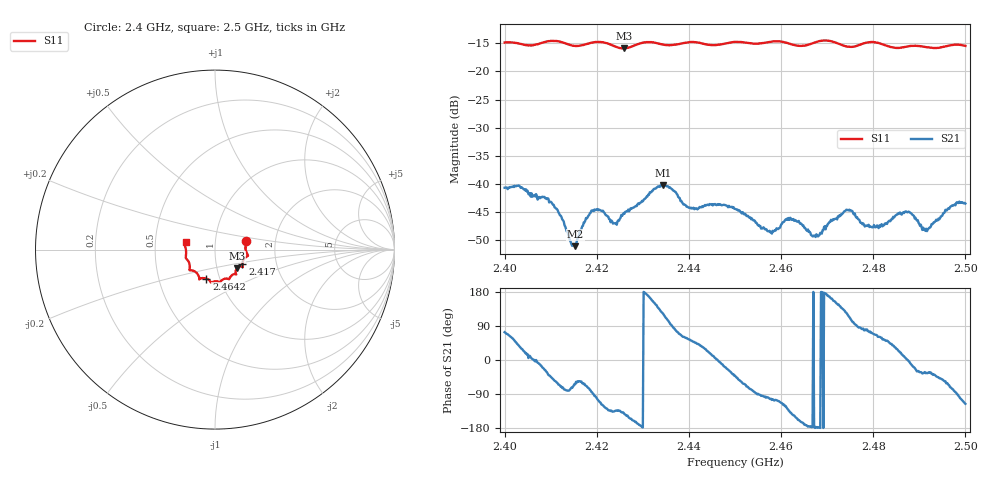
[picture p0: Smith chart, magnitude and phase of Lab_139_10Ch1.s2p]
# Hz S RI R 50
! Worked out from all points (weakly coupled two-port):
!   601 points, 2.4 GHz to 2.5 GHz, reference 50 ohm
!   highest |S21| = -40.14 dB at 2.4343 GHz (marker M1); lowest = -51.0 dB at 2.4153 GHz (marker M2)
!   lowest |S11| = -15.9 dB at 2.4258 GHz (marker M3), VSWR 1.38, Z = 62.3 - j13.3 ohm
!   |S11| at or under -10 dB: start of sweep to end of sweep
!   S12 and S22 are empty: the file has one direction only
!   S11 on the Smith chart (normalised r, x): 2.4 GHz: 1.41, +0.14; 2.417 GHz: 1.34, -0.22; 2.4642 GHz: 0.86, -0.29; 2.5 GHz: 0.72, +0.06
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2.4e9  0.1737 0.049  0.00265 0.00888  0 0  0 0
2.409e9  0.1815 -0.0279  0.00646 -0.00378  0 0  0 0
2.415333e9  0.1576 -0.0591  0.00123 -0.00252  0 0  0 0
2.416667e9  0.1531 -0.0744  0.00219 -0.00333  0 0  0 0
2.417e9  0.1524 -0.0784  0.00206 -0.00373  0 0  0 0
2.419667e9  0.1544 -0.097  -0.000526 -0.00583  0 0  0 0
2.423833e9  0.1385 -0.0942  -0.00319 -0.00314  0 0  0 0
2.425833e9  0.122 -0.1038  -0.00419 -0.0036  0 0  0 0
2.433333e9  0.1127 -0.1364  -0.00704 0.00644  0 0  0 0
2.434333e9  0.1068 -0.1364  -0.00534 0.00826  0 0  0 0
2.440167e9  0.0795 -0.164  0.00364 0.00499  0 0  0 0
2.45e9  0.0292 -0.1807  0.00451 -0.00398  0 0  0 0
2.4575e9  -0.0162 -0.182  -0.000815 -0.00375  0 0  0 0
2.4615e9  -0.0275 -0.1757  -0.00312 -0.00368  0 0  0 0
2.464167e9  -0.0479 -0.1615  -0.00421 -0.00138  0 0  0 0
2.466667e9  -0.0759 -0.1597  -0.00349 -0.000168  0 0  0 0
2.474333e9  -0.1 -0.1325  -0.00308 0.00501  0 0  0 0
2.478667e9  -0.1391 -0.1152  0.000704 0.00418  0 0  0 0
2.483333e9  -0.1405 -0.0902  0.00314 0.00345  0 0  0 0
2.4875e9  -0.1579 -0.0536  0.00561 -3.99e-05  0 0  0 0
2.4915e9  -0.1614 -0.0302  0.00334 -0.00223  0 0  0 0
2.5e9  -0.1633 0.0418  -0.0029 -0.00606  0 0  0 0
